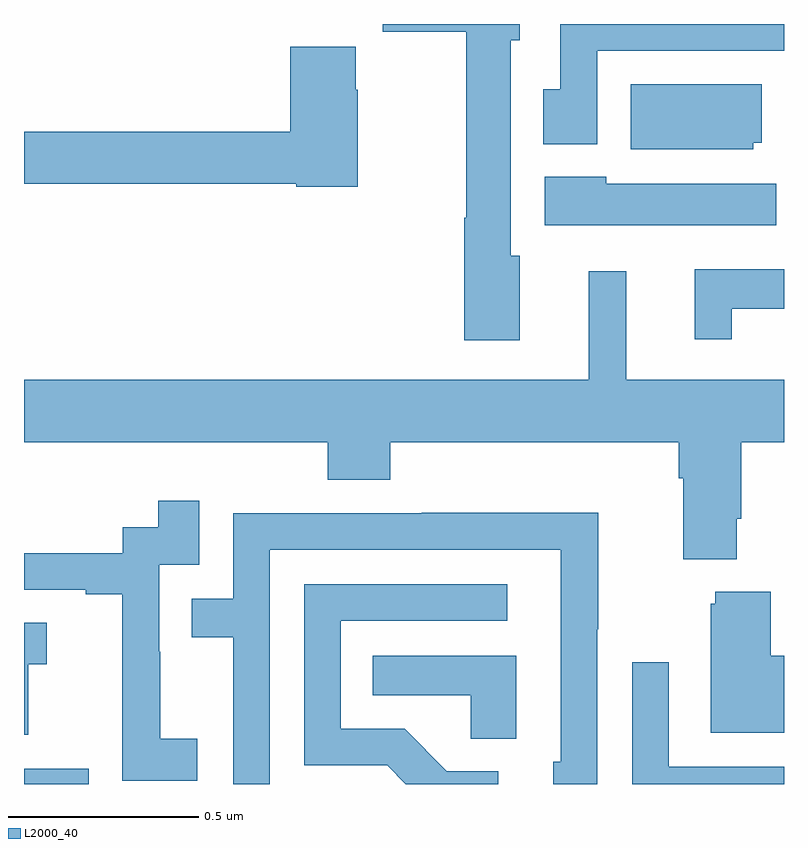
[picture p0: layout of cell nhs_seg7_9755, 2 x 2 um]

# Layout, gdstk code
import gdstk
lib = gdstk.Library(unit=1e-6, precision=1e-09)
def R(c, l, rs):  # rectangles x0, y0, x1, y1
    for r in rs: c.add(gdstk.rectangle(r[:2], r[2:], *l))
def P(c, l, *ps):  # polygons
    for p in ps: c.add(gdstk.Polygon(p, *l))
L2000_40 = (2000, 40)

nhs_seg7_9755 = lib.new_cell('nhs_seg7_9755')
R(nhs_seg7_9755, L2000_40, [(241,1049,241.17,1049.04)])
P(nhs_seg7_9755, L2000_40, [(242.305,1050.39),(242.281,1050.39),(242.281,1050.957),(242.305,1050.957),(242.305,1051),(241.944,1051),(241.944,1050.979),(242.164,1050.979),(242.164,1050.49),(242.159,1050.49),(242.159,1050.168),(242.305,1050.168)],
  [(242.508,1050.929),(243,1050.929),(243,1051),(242.411,1051),(242.411,1050.828),(242.366,1050.828),(242.366,1050.684),(242.508,1050.684)],
  [(241.878,1050.827),(241.873,1050.827),(241.873,1050.94),(241.7,1050.94),(241.7,1050.716),(241,1050.716),(241,1050.58),(241.716,1050.58),(241.716,1050.572),(241.878,1050.572)],
  [(242.919,1050.687),(242.941,1050.687),(242.941,1050.841),(242.597,1050.841),(242.597,1050.671),(242.919,1050.671)],
  [(242.98,1050.58),(242.532,1050.58),(242.532,1050.598),(242.37,1050.598),(242.37,1050.47),(242.98,1050.47)],
  [(242.863,1050.251),(243,1050.251),(243,1050.355),(242.765,1050.355),(242.765,1050.171),(242.863,1050.171)],
  [(242.875,1049.698),(242.888,1049.698),(242.888,1049.9),(243,1049.9),(243,1050.064),(242.585,1050.064),(242.585,1050.349),(242.486,1050.349),(242.486,1050.064),(241,1050.064),(241,1049.9),(241.799,1049.9),(241.799,1049.801),(241.964,1049.801),(241.964,1049.9),(242.723,1049.9),(242.723,1049.804),(242.735,1049.804),(242.735,1049.591),(242.875,1049.591)],
  [(241.456,1049.119),(241.358,1049.119),(241.358,1049.348),(241.356,1049.348),(241.356,1049.577),(241.461,1049.577),(241.461,1049.746),(241.353,1049.746),(241.353,1049.676),(241.26,1049.676),(241.26,1049.607),(241,1049.607),(241,1049.511),(241.163,1049.511),(241.163,1049.499),(241.259,1049.499),(241.259,1049.215),(241.258,1049.215),(241.258,1049.009),(241.456,1049.009)],
  [(241.647,1049.616),(242.412,1049.616),(242.412,1049.058),(242.393,1049.058),(242.393,1049),(242.508,1049),(242.508,1049.407),(242.511,1049.407),(242.511,1049.714),(242.047,1049.714),(242.047,1049.712),(241.551,1049.712),(241.551,1049.487),(241.441,1049.487),(241.441,1049.386),(241.551,1049.386),(241.551,1049),(241.647,1049)],
  [(242.248,1049.034),(242.113,1049.034),(242.002,1049.145),(241.833,1049.145),(241.833,1049.43),(242.272,1049.43),(242.272,1049.526),(241.737,1049.526),(241.737,1049.049),(241.956,1049.049),(242.005,1049),(242.248,1049)],
  [(243,1049.338),(242.965,1049.338),(242.965,1049.506),(242.819,1049.506),(242.819,1049.475),(242.807,1049.475),(242.807,1049.135),(243,1049.135)],
  [(241.011,1049.315),(241.06,1049.315),(241.06,1049.425),(241,1049.425),(241,1049.13),(241.011,1049.13)],
  [(242.296,1049.338),(241.918,1049.338),(241.918,1049.234),(242.175,1049.234),(242.175,1049.119),(242.296,1049.119)],
  [(243,1049.046),(242.697,1049.046),(242.697,1049.32),(242.601,1049.32),(242.601,1049),(243,1049)])

lib.write_gds('nhs_seg7_9755.gds')
